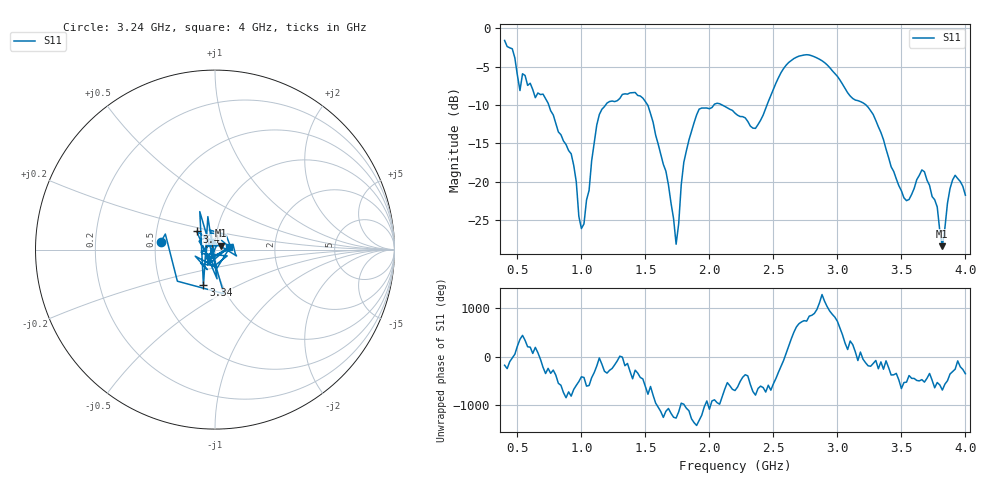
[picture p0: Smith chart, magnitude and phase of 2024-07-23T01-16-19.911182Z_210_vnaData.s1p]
!Created with skrf (http://scikit-rf.org).
# Hz S RI R 50.0
!freq ReS11 ImS11
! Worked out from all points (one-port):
!   181 points, 400 MHz to 4 GHz, reference 50 ohm
!   lowest |S11| = -28.4 dB at 3.82 GHz (marker M1), VSWR 1.08, Z = 53.1 + j2.38 ohm
!   |S11| at or under -10 dB: 744.8 MHz to 1.189 GHz (444.4 MHz wide, 46 % of centre); 1.517 GHz to 2.035 GHz (517.5 MHz wide, 29.1 % of centre); 3.223 GHz to end of sweep (the widest 3 of 4)
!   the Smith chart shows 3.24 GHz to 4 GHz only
!   S11 on the Smith chart (normalised r, x): 3.24 GHz: 0.53, +0.05; 3.34 GHz: 0.82, -0.34; 3.4 GHz: 0.80, +0.17; 4 GHz: 1.17, +0.03
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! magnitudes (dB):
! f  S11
! 400 MHz  -1.6
! 520 MHz  -8.1
! 540 MHz  -5.9
! 700 MHz  -8.6
! 860 MHz  -14.7
! 940 MHz  -17.9
! 1 GHz  -26.1
! 1.14 GHz  -11.2
! 1.3 GHz  -9.1
! 1.52 GHz  -10.1
! 1.66 GHz  -18.6
! 1.74 GHz  -28.2
! 1.76 GHz  -25.5
! 1.8 GHz  -17.5
! 1.92 GHz  -10.5
! 2.2 GHz  -11.1
! 2.36 GHz  -13.1
! 2.66 GHz  -3.9
! 3.1 GHz  -8.8
! 3.24 GHz  -10.3
! 3.34 GHz  -13.6
! 3.4 GHz  -16.9
! 3.56 GHz  -22.3
! 3.68 GHz  -18.7
! 3.78 GHz  -23.3
! 3.82 GHz  -28.4
! 3.9 GHz  -19.8
! 4 GHz  -21.8
